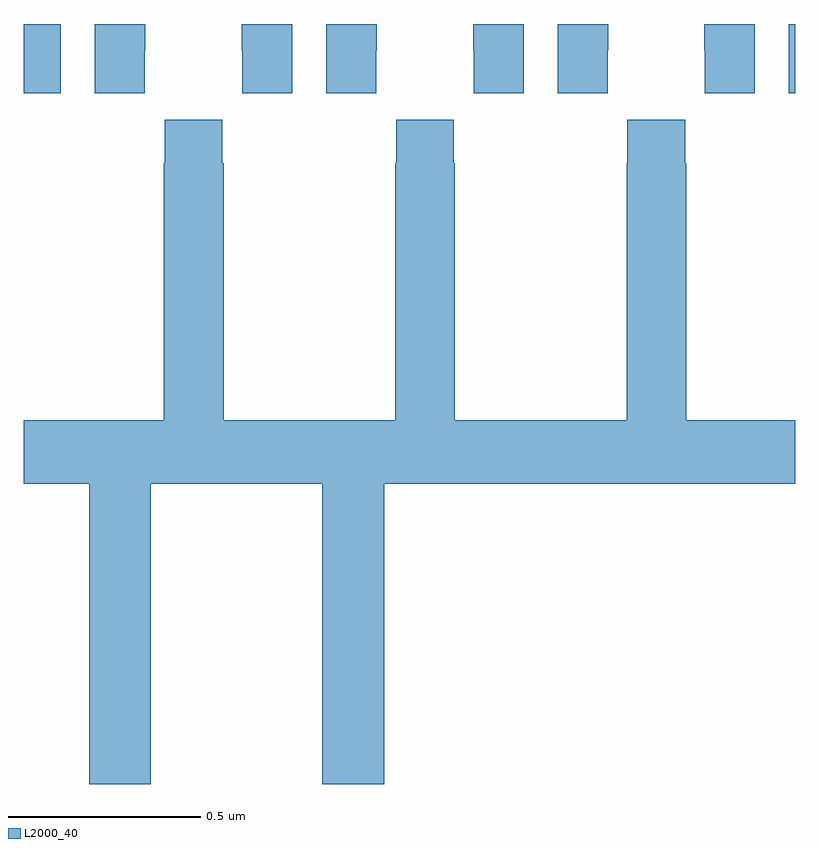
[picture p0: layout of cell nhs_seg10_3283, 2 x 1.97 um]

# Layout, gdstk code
import gdstk
lib = gdstk.Library(unit=1e-6, precision=1e-09)
def R(c, l, rs):  # rectangles x0, y0, x1, y1
    for r in rs: c.add(gdstk.rectangle(r[:2], r[2:], *l))
def P(c, l, *ps):  # polygons
    for p in ps: c.add(gdstk.Polygon(p, *l))
L2000_40 = (2000, 40)

nhs_seg10_3283 = lib.new_cell('nhs_seg10_3283')
R(nhs_seg10_3283, L2000_40, [(151,1309.32,151.096,1309.5), (152.984,1309.32,153,1309.5)])
P(nhs_seg10_3283, L2000_40, [(152.296,1309.5),(152.165,1309.5),(152.165,1309.432),(152.166,1309.432),(152.166,1309.32),(152.296,1309.32)],
  [(152.514,1309.432),(152.515,1309.432),(152.515,1309.5),(152.384,1309.5),(152.384,1309.32),(152.514,1309.32)],
  [(152.896,1309.5),(152.765,1309.5),(152.765,1309.432),(152.766,1309.432),(152.766,1309.32),(152.896,1309.32)],
  [(151.314,1309.432),(151.315,1309.432),(151.315,1309.5),(151.184,1309.5),(151.184,1309.32),(151.314,1309.32)],
  [(151.696,1309.5),(151.565,1309.5),(151.565,1309.432),(151.566,1309.432),(151.566,1309.32),(151.696,1309.32)],
  [(151.914,1309.432),(151.915,1309.432),(151.915,1309.5),(151.784,1309.5),(151.784,1309.32),(151.914,1309.32)],
  [(153,1308.472),(152.718,1308.472),(152.718,1309.139),(152.715,1309.139),(152.715,1309.252),(152.565,1309.252),(152.565,1309.139),(152.563,1309.139),(152.563,1308.472),(152.118,1308.472),(152.118,1309.139),(152.115,1309.139),(152.115,1309.252),(151.965,1309.252),(151.965,1309.139),(151.963,1309.139),(151.963,1308.472),(151.518,1308.472),(151.518,1309.139),(151.515,1309.139),(151.515,1309.252),(151.365,1309.252),(151.365,1309.139),(151.363,1309.139),(151.363,1308.472),(151,1308.472),(151,1308.308),(151.169,1308.308),(151.169,1307.529),(151.329,1307.529),(151.329,1308.308),(151.774,1308.308),(151.774,1307.529),(151.934,1307.529),(151.934,1308.308),(153,1308.308)])

lib.write_gds('nhs_seg10_3283.gds')
